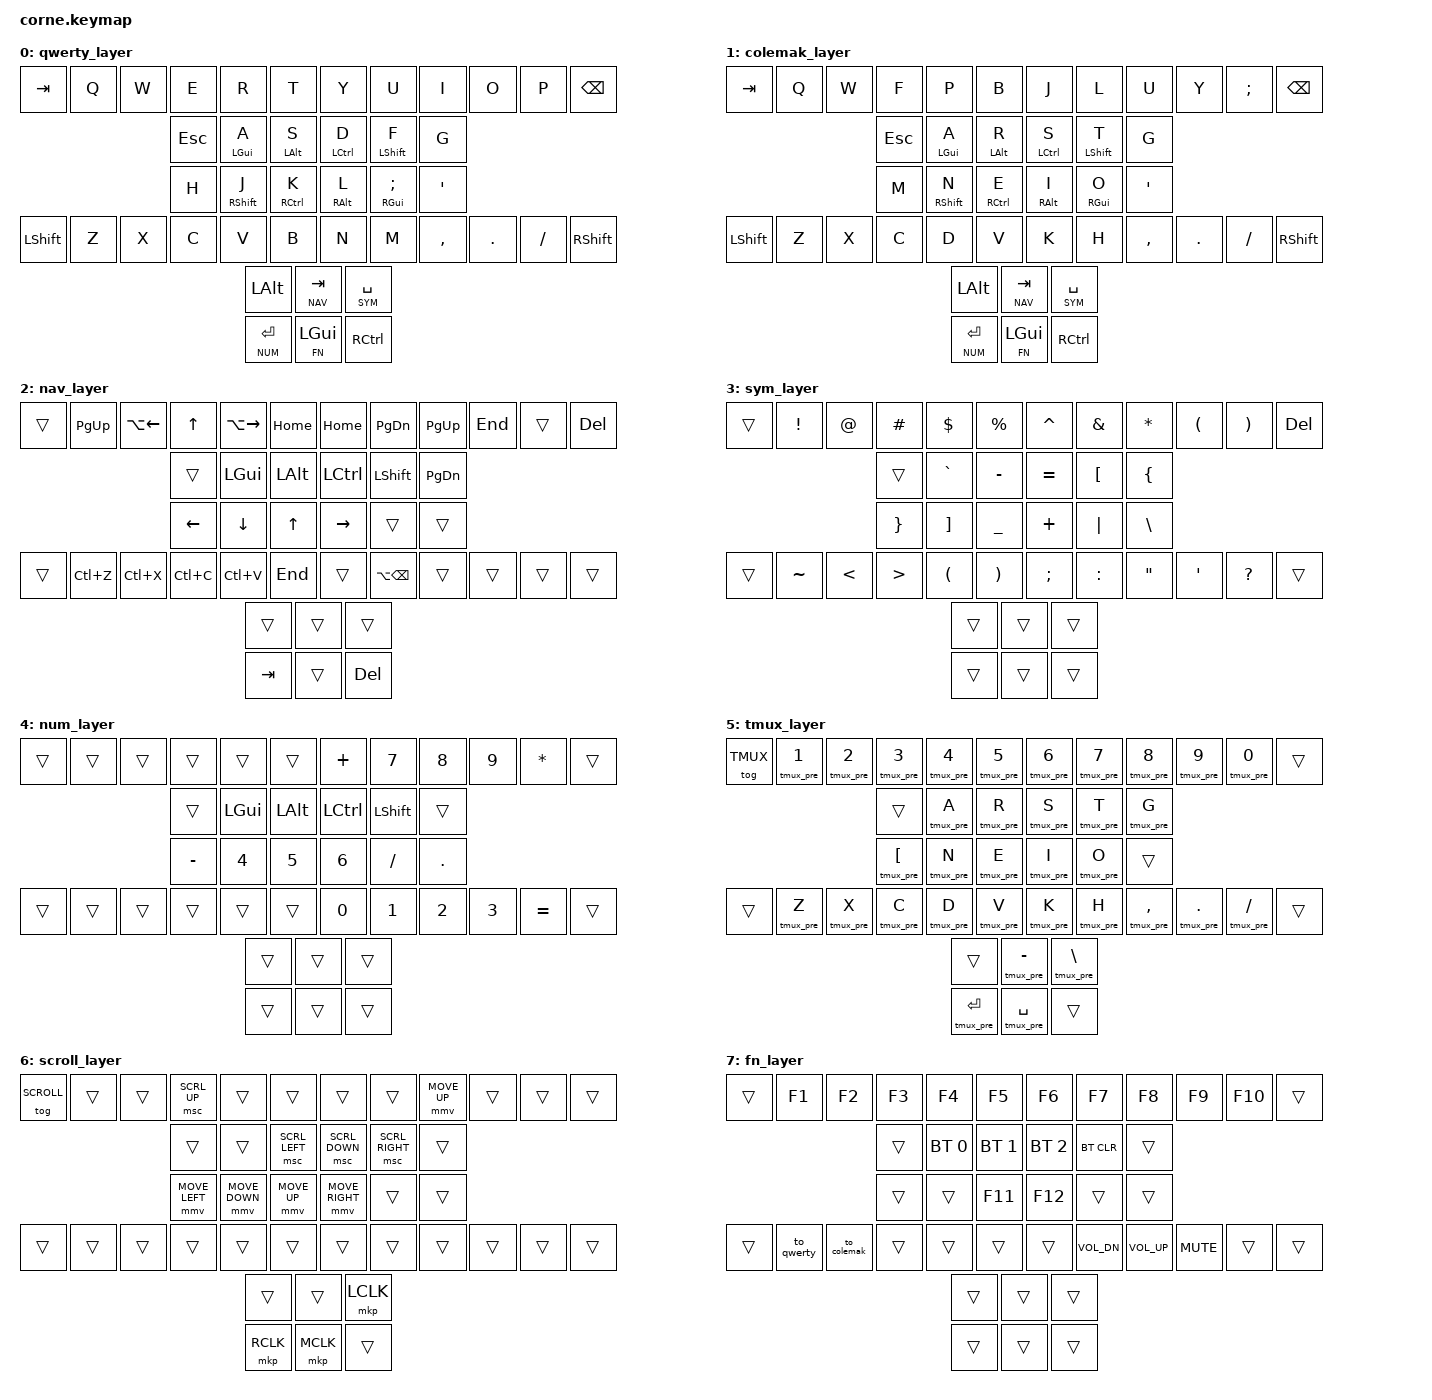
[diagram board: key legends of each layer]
#include <behaviors.dtsi>
#include <dt-bindings/zmk/keys.h>
#include <dt-bindings/zmk/bt.h>
#include <dt-bindings/zmk/mouse.h>

// Layer aliases
#define QWERTY  0
#define COLEMAK 1
#define NAV     2
#define SYM     3
#define NUM     4
#define TMUX    5
#define SCROLL  6
#define FN      7

// Homerow mod aliases (GACS order — GUI, Alt, Ctrl, Shift)
// Left hand:  A  S  D  F
// Right hand: J  K  L  ;

// Timeless HRM settings (urob-style)
&mt {
    tapping-term-ms = <200>;
    require-prior-idle-ms = <150>;
    flavor = "tap-preferred";
};

/ {
    // ─── COMBOS ──────────────────────────────────────────────
    combos {
        compatible = "zmk,combos";

        // ESC — tap J+K (right hand, easy to reach from vim)
        combo_esc {
            timeout-ms = <40>;
            key-positions = <19 20>;   // J K on QWERTY
            bindings = <&kp ESC>;
        };

        // Caps Word — both shifts (inner thumbs)
        combo_caps_word {
            timeout-ms = <40>;
            key-positions = <36 41>;   // left thumb mid + right thumb mid
            bindings = <&caps_word>;
        };

        // TMUX layer toggle — D+F (left hand middle+ring inner)
        combo_tmux {
            timeout-ms = <40>;
            key-positions = <15 16>;   // D F
            bindings = <&tog TMUX>;
        };

        // SCROLL layer toggle — M+N (right hand)
        combo_scroll {
            timeout-ms = <40>;
            key-positions = <20 21>;   // K L  (right mid row)
            bindings = <&tog SCROLL>;
        };
    };

    // ─── MACROS ──────────────────────────────────────────────
    macros {
        // Tmux prefix: sends Ctrl+B then waits for next key
        tmux_pre: tmux_prefix {
            compatible = "zmk,behavior-macro-one-param";
            #binding-cells = <1>;
            bindings
                = <&macro_press &kp LCTRL>
                , <&macro_tap &kp B>
                , <&macro_release &kp LCTRL>
                , <&macro_param_1to1>
                , <&macro_tap &kp MACRO_PLACEHOLDER>;
        };

        // Switch to QWERTY default layer
        to_qwerty: to_qwerty {
            compatible = "zmk,behavior-macro";
            #binding-cells = <0>;
            bindings = <&to QWERTY>;
        };

        // Switch to Colemak default layer
        to_colemak: to_colemak {
            compatible = "zmk,behavior-macro";
            #binding-cells = <0>;
            bindings = <&to COLEMAK>;
        };
    };

    // ─── BEHAVIORS ───────────────────────────────────────────
    behaviors {
        // Homerow mods — tap-preferred, timeless style
        hml: homerow_mod_left {
            compatible = "zmk,behavior-hold-tap";
            #binding-cells = <2>;
            tapping-term-ms = <200>;
            require-prior-idle-ms = <150>;
            flavor = "balanced";
            hold-trigger-key-positions = <
                6 7 8 9 10 11        // right top row
                18 19 20 21 22 23    // right mid row
                30 31 32 33 34 35    // right bot row
                39 40 41             // right thumb
            >;
            hold-trigger-on-release;
            bindings = <&kp>, <&kp>;
        };

        hmr: homerow_mod_right {
            compatible = "zmk,behavior-hold-tap";
            #binding-cells = <2>;
            tapping-term-ms = <200>;
            require-prior-idle-ms = <150>;
            flavor = "balanced";
            hold-trigger-key-positions = <
                0 1 2 3 4 5          // left top row
                12 13 14 15 16 17    // left mid row
                24 25 26 27 28 29    // left bot row
                36 37 38             // left thumb
            >;
            hold-trigger-on-release;
            bindings = <&kp>, <&kp>;
        };

        // Layer tap with tapping-term tuned for thumb comfort
        lt_thumb: layer_tap_thumb {
            compatible = "zmk,behavior-hold-tap";
            #binding-cells = <2>;
            tapping-term-ms = <180>;
            flavor = "balanced";
            bindings = <&mo>, <&kp>;
        };
    };

    keymap {
        compatible = "zmk,keymap";

        // ══════════════════════════════════════════════════════
        // LAYER 0 — QWERTY BASE
        // Start here. Homerow mods on ASDF / JKL;
        // ══════════════════════════════════════════════════════
        qwerty_layer {
            bindings = <
// ┌──────┬──────┬──────┬──────┬──────┬──────┐   ┌──────┬──────┬──────┬──────┬──────┬──────┐
    &kp TAB  &kp Q  &kp W  &kp E  &kp R  &kp T     &kp Y  &kp U  &kp I  &kp O  &kp P  &kp BSPC
// ├──────┼──────┼──────┼──────┼──────┼──────┤   ├──────┼──────┼──────┼──────┼──────┼──────┤
    &kp ESC  &hml LGUI A  &hml LALT S  &hml LCTRL D  &hml LSHFT F  &kp G
             &kp H  &hmr RSHFT J  &hmr RCTRL K  &hmr RALT L  &hmr RGUI SEMI  &kp SQT
// ├──────┼──────┼──────┼──────┼──────┼──────┤   ├──────┼──────┼──────┼──────┼──────┼──────┤
    &kp LSHFT  &kp Z  &kp X  &kp C  &kp V  &kp B     &kp N  &kp M  &kp COMMA  &kp DOT  &kp FSLH  &kp RSHFT
// └──────┴──────┴──────┼──────┼──────┼──────┤   ├──────┼──────┼──────┼──────┴──────┴──────┘
                        &kp LALT  &lt_thumb NAV TAB  &lt_thumb SYM SPACE
                                  &lt_thumb NUM RET  &lt_thumb FN LGUI  &kp RCTRL
//                      └──────┴──────┴──────┘   └──────┴──────┴──────┘
            >;
        };

        // ══════════════════════════════════════════════════════
        // LAYER 1 — COLEMAK-DH BASE
        // Switch to this when ready: FN layer has the toggle
        // ══════════════════════════════════════════════════════
        colemak_layer {
            bindings = <
// ┌──────┬──────┬──────┬──────┬──────┬──────┐   ┌──────┬──────┬──────┬──────┬──────┬──────┐
    &kp TAB  &kp Q  &kp W  &kp F  &kp P  &kp B     &kp J  &kp L  &kp U  &kp Y  &kp SEMI  &kp BSPC
// ├──────┼──────┼──────┼──────┼──────┼──────┤   ├──────┼──────┼──────┼──────┼──────┼──────┤
    &kp ESC  &hml LGUI A  &hml LALT R  &hml LCTRL S  &hml LSHFT T  &kp G
             &kp M  &hmr RSHFT N  &hmr RCTRL E  &hmr RALT I  &hmr RGUI O  &kp SQT
// ├──────┼──────┼──────┼──────┼──────┼──────┤   ├──────┼──────┼──────┼──────┼──────┼──────┤
    &kp LSHFT  &kp Z  &kp X  &kp C  &kp D  &kp V     &kp K  &kp H  &kp COMMA  &kp DOT  &kp FSLH  &kp RSHFT
// └──────┴──────┴──────┼──────┼──────┼──────┤   ├──────┼──────┼──────┼──────┴──────┴──────┘
                        &kp LALT  &lt_thumb NAV TAB  &lt_thumb SYM SPACE
                                  &lt_thumb NUM RET  &lt_thumb FN LGUI  &kp RCTRL
//                      └──────┴──────┴──────┘   └──────┴──────┴──────┘
            >;
        };

        // ══════════════════════════════════════════════════════
        // LAYER 2 — NAV
        // Vim-style navigation. HJKL on right hand.
        // Left hand: word nav, page nav, tmux split triggers
        // ══════════════════════════════════════════════════════
        nav_layer {
            bindings = <
// ┌──────┬──────┬──────┬──────┬──────┬──────┐   ┌──────┬──────┬──────┬──────┬──────┬──────┐
    &trans  &kp PG_UP  &kp LA(LEFT)  &kp UP  &kp LA(RIGHT)  &kp HOME
            &kp HOME   &kp PG_DN     &kp PG_UP  &kp END  &trans  &kp DEL
// ├──────┼──────┼──────┼──────┼──────┼──────┤   ├──────┼──────┼──────┼──────┼──────┼──────┤
    &trans  &kp LGUI  &kp LALT  &kp LCTRL  &kp LSHFT  &kp PG_DN
            &kp LEFT  &kp DOWN  &kp UP  &kp RIGHT  &trans  &trans
// ├──────┼──────┼──────┼──────┼──────┼──────┤   ├──────┼──────┼──────┼──────┼──────┼──────┤
    &trans  &kp LC(Z)  &kp LC(X)  &kp LC(C)  &kp LC(V)  &kp END
            &trans  &kp LA(BSPC)  &trans  &trans  &trans  &trans
// └──────┴──────┴──────┼──────┼──────┼──────┤   ├──────┼──────┼──────┼──────┴──────┴──────┘
                        &trans  &trans  &trans     &kp TAB  &trans  &kp DEL
//                      └──────┴──────┴──────┘   └──────┴──────┴──────┘
            >;
        };

        // ══════════════════════════════════════════════════════
        // LAYER 3 — SYM
        // Symbols. Left = operators, Right = brackets.
        // Open brackets left hand, close right hand.
        // ══════════════════════════════════════════════════════
        sym_layer {
            bindings = <
// ┌──────┬──────┬──────┬──────┬──────┬──────┐   ┌──────┬──────┬──────┬──────┬──────┬──────┐
    &trans  &kp EXCL  &kp AT  &kp HASH  &kp DLLR  &kp PRCNT
            &kp CARET  &kp AMPS  &kp ASTRK  &kp LPAR  &kp RPAR  &kp DEL
// ├──────┼──────┼──────┼──────┼──────┼──────┤   ├──────┼──────┼──────┼──────┼──────┼──────┤
    &trans  &kp GRAVE  &kp MINUS  &kp EQUAL  &kp LBKT  &kp LBRC
            &kp RBRC   &kp RBKT   &kp UNDER  &kp PLUS  &kp PIPE  &kp BSLH
// ├──────┼──────┼──────┼──────┼──────┼──────┤   ├──────┼──────┼──────┼──────┼──────┼──────┤
    &trans  &kp TILDE  &kp LT  &kp GT  &kp LPAR  &kp RPAR
            &kp SEMI   &kp COLON  &kp DQT  &kp SQT  &kp QMARK  &trans
// └──────┴──────┴──────┼──────┼──────┼──────┤   ├──────┼──────┼──────┼──────┴──────┴──────┘
                        &trans  &trans  &trans     &trans  &trans  &trans
//                      └──────┴──────┴──────┘   └──────┴──────┴──────┘
            >;
        };

        // ══════════════════════════════════════════════════════
        // LAYER 4 — NUM
        // Numpad on right hand. Left hand = common ops.
        // ══════════════════════════════════════════════════════
        num_layer {
            bindings = <
// ┌──────┬──────┬──────┬──────┬──────┬──────┐   ┌──────┬──────┬──────┬──────┬──────┬──────┐
    &trans  &trans  &trans  &trans  &trans  &trans
            &kp PLUS   &kp N7  &kp N8  &kp N9  &kp ASTRK  &trans
// ├──────┼──────┼──────┼──────┼──────┼──────┤   ├──────┼──────┼──────┼──────┼──────┼──────┤
    &trans  &kp LGUI  &kp LALT  &kp LCTRL  &kp LSHFT  &trans
            &kp MINUS  &kp N4  &kp N5  &kp N6  &kp FSLH   &kp DOT
// ├──────┼──────┼──────┼──────┼──────┼──────┤   ├──────┼──────┼──────┼──────┼──────┼──────┤
    &trans  &trans  &trans  &trans  &trans  &trans
            &kp N0     &kp N1  &kp N2  &kp N3  &kp EQUAL  &trans
// └──────┴──────┴──────┼──────┼──────┼──────┤   ├──────┼──────┼──────┼──────┴──────┴──────┘
                        &trans  &trans  &trans     &trans  &trans  &trans
//                      └──────┴──────┴──────┘   └──────┴──────┴──────┘
            >;
        };

        // ══════════════════════════════════════════════════════
        // LAYER 5 — TMUX
        // Toggle with D+F combo. All bindings auto-send Ctrl+B prefix.
        // Mirrors tmux default bindings so no retraining needed.
        // ══════════════════════════════════════════════════════
        tmux_layer {
            bindings = <
// ┌──────┬──────┬──────┬──────┬──────┬──────┐   ┌──────┬──────┬──────┬──────┬──────┬──────┐
    &tog TMUX  &tmux_pre N1  &tmux_pre N2  &tmux_pre N3  &tmux_pre N4  &tmux_pre N5
               &tmux_pre N6  &tmux_pre N7  &tmux_pre N8  &tmux_pre N9  &tmux_pre N0  &trans
// ├──────┼──────┼──────┼──────┼──────┼──────┤   ├──────┼──────┼──────┼──────┼──────┼──────┤
    &trans  &tmux_pre A  &tmux_pre R  &tmux_pre S  &tmux_pre T  &tmux_pre G
            &tmux_pre LBKT  &tmux_pre N  &tmux_pre E  &tmux_pre I  &tmux_pre O  &trans
// (A=last-window, R=rename, S=sessions, T=clock, G=none)
// (LBKT=copy-mode, N=next-win, E=none, I=none, O=none)
// ├──────┼──────┼──────┼──────┼──────┼──────┤   ├──────┼──────┼──────┼──────┼──────┼──────┤
    &trans  &tmux_pre Z  &tmux_pre X  &tmux_pre C  &tmux_pre D  &tmux_pre V
            &tmux_pre K  &tmux_pre H  &tmux_pre COMMA  &tmux_pre DOT  &tmux_pre FSLH  &trans
// (Z=zoom, X=kill-pane, C=new-win, D=detach, V=split-h if remapped)
// (K=none, H=none)
// └──────┴──────┴──────┼──────┼──────┼──────┤   ├──────┼──────┼──────┼──────┴──────┴──────┘
                        &trans  &tmux_pre MINUS  &tmux_pre BSLH
                                &tmux_pre RET    &tmux_pre SPACE  &trans
// (MINUS=split vertical, BSLH=split horizontal, RET=last-pane, SPACE=next-layout)
//                      └──────┴──────┴──────┘   └──────┴──────┴──────┘
            >;
        };

        // ══════════════════════════════════════════════════════
        // LAYER 6 — SCROLL
        // Toggle with K+L combo.
        // For Excalidraw / Obsidian canvas horizontal scroll.
        // Left hand = directional scroll, Right hand = fast scroll + click
        // ══════════════════════════════════════════════════════
        scroll_layer {
            bindings = <
// ┌──────┬──────┬──────┬──────┬──────┬──────┐   ┌──────┬──────┬──────┬──────┬──────┬──────┐
    &tog SCROLL  &trans  &trans  &msc SCRL_UP    &trans          &trans
                 &trans  &trans  &mmv MOVE_UP    &trans          &trans  &trans
// ├──────┼──────┼──────┼──────┼──────┼──────┤   ├──────┼──────┼──────┼──────┼──────┼──────┤
    &trans  &trans  &msc SCRL_LEFT  &msc SCRL_DOWN  &msc SCRL_RIGHT  &trans
            &mmv MOVE_LEFT  &mmv MOVE_DOWN  &mmv MOVE_UP  &mmv MOVE_RIGHT  &trans  &trans
// ├──────┼──────┼──────┼──────┼──────┼──────┤   ├──────┼──────┼──────┼──────┼──────┼──────┤
    &trans  &trans  &trans  &trans  &trans  &trans
            &trans  &trans  &trans  &trans  &trans  &trans
// └──────┴──────┴──────┼──────┼──────┼──────┤   ├──────┼──────┼──────┼──────┴──────┴──────┘
                        &trans  &trans  &mkp LCLK     &mkp RCLK  &mkp MCLK  &trans
//                      └──────┴──────┴──────┘   └──────┴──────┴──────┘
            >;
        };

        // ══════════════════════════════════════════════════════
        // LAYER 7 — FN / BT / SYSTEM
        // Function keys, Bluetooth profiles, layout switching
        // ══════════════════════════════════════════════════════
        fn_layer {
            bindings = <
// ┌──────┬──────┬──────┬──────┬──────┬──────┐   ┌──────┬──────┬──────┬──────┬──────┬──────┤
    &trans  &kp F1  &kp F2  &kp F3  &kp F4   &kp F5
            &kp F6  &kp F7  &kp F8  &kp F9   &kp F10  &trans
// ├──────┼──────┼──────┼──────┼──────┼──────┤   ├──────┼──────┼──────┼──────┼──────┼──────┤
    &trans  &bt BT_SEL 0  &bt BT_SEL 1  &bt BT_SEL 2  &bt BT_CLR  &trans
            &trans        &trans        &kp F11       &kp F12      &trans  &trans
// ├──────┼──────┼──────┼──────┼──────┼──────┤   ├──────┼──────┼──────┼──────┼──────┼──────┤
    &trans  &to_qwerty  &to_colemak  &trans  &trans  &trans
            &trans      &kp C_VOL_DN  &kp C_VOL_UP  &kp C_MUTE  &trans  &trans
// └──────┴──────┴──────┼──────┼──────┼──────┤   ├──────┼──────┼──────┼──────┴──────┴──────┘
                        &trans  &trans  &trans     &trans  &trans  &trans
//                      └──────┴──────┴──────┘   └──────┴──────┴──────┘
            >;
        };
    };
};
